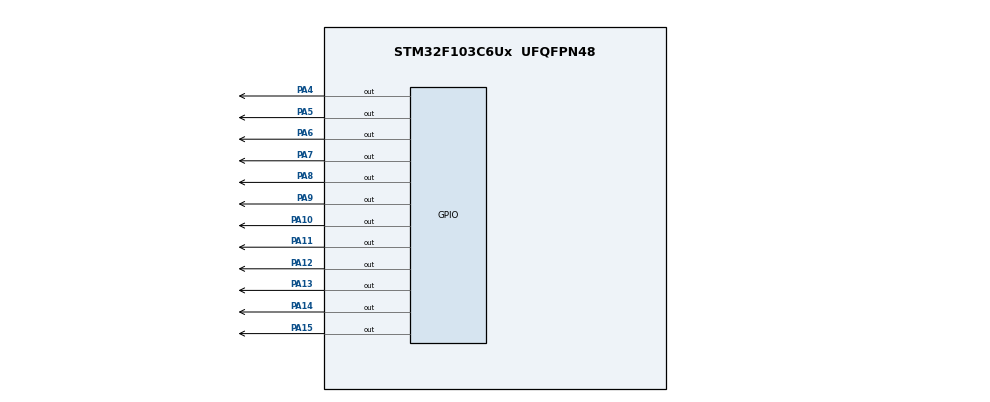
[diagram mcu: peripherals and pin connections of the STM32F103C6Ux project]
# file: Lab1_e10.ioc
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Mcu.Family=STM32F1
Mcu.Name=STM32F103C6Ux
Mcu.Package=UFQFPN48
NVIC.PriorityGroup=NVIC_PRIORITYGROUP_4
PA10.PinState=GPIO_PIN_SET
PA10.Signal=GPIO_Output
PA11.PinState=GPIO_PIN_SET
PA11.Signal=GPIO_Output
PA12.PinState=GPIO_PIN_SET
PA12.Signal=GPIO_Output
PA13.PinState=GPIO_PIN_SET
PA13.Signal=GPIO_Output
PA14.PinState=GPIO_PIN_SET
PA14.Signal=GPIO_Output
PA15.PinState=GPIO_PIN_SET
PA15.Signal=GPIO_Output
PA4.PinState=GPIO_PIN_SET
PA4.Signal=GPIO_Output
PA5.PinState=GPIO_PIN_SET
PA5.Signal=GPIO_Output
PA6.PinState=GPIO_PIN_SET
PA6.Signal=GPIO_Output
PA7.PinState=GPIO_PIN_SET
PA7.Signal=GPIO_Output
PA8.PinState=GPIO_PIN_SET
PA8.Signal=GPIO_Output
PA9.PinState=GPIO_PIN_SET
PA9.Signal=GPIO_Output
ProjectManager.HeapSize=0x200
ProjectManager.StackSize=0x400
ProjectManager.TargetToolchain=STM32CubeIDE
RCC.APB1Freq_Value=8000000
RCC.APB2Freq_Value=8000000
VP_SYS_VS_ND.Mode=No_Debug
board=custom

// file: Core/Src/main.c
/* USER CODE BEGIN Header */
/**
  ******************************************************************************
  * @file           : main.c
  * @brief          : Main program body
  ******************************************************************************
  * @attention
  *
  * <h2><center>&copy; Copyright (c) 2026 STMicroelectronics.
  * All rights reserved.</center></h2>
  *
  * This software component is licensed by ST under BSD 3-Clause license,
  * the "License"; You may not use this file except in compliance with the
  * License. You may obtain a copy of the License at:
  *                        opensource.org/licenses/BSD-3-Clause
  *
  ******************************************************************************
  */
/* USER CODE END Header */
#include "main.h"

/* USER CODE BEGIN PD */
#define CLOCK_LED_MASK ((uint16_t)0xFFF0U)
/* USER CODE END PD */

void SystemClock_Config(void);
static void MX_GPIO_Init(void);
/* USER CODE BEGIN PFP */
void clearAllClock(void);
void setNumberOnClock(int num);
void clearNumberOnClock(int num);
static void displayClock(uint8_t hour, uint8_t minute, uint8_t second);
/* USER CODE END PFP */

/* USER CODE BEGIN 0 */

/*
 * LED order follows the clock positions.
 *
 * Position 0  = 12 o'clock = D2 = PA5
 * Position 1  = 1 o'clock  = D3 = PA6
 * Position 2  = 2 o'clock  = D4 = PA7
 * Position 3  = 3 o'clock  = D5 = PA8
 * Position 4  = 4 o'clock  = D6 = PA9
 * Position 5  = 5 o'clock  = D7 = PA10
 * Position 6  = 6 o'clock  = D8 = PA11
 * Position 7  = 7 o'clock  = D9 = PA12
 * Position 8  = 8 o'clock  = D10 = PA13
 * Position 9  = 9 o'clock  = D11 = PA14
 * Position 10 = 10 o'clock = D12 = PA15
 * Position 11 = 11 o'clock = D1 = PA4
 */
static const uint16_t clock_pins[12] =
{
    GPIO_PIN_5,
    GPIO_PIN_6,
    GPIO_PIN_7,
    GPIO_PIN_8,
    GPIO_PIN_9,
    GPIO_PIN_10,
    GPIO_PIN_11,
    GPIO_PIN_12,
    GPIO_PIN_13,
    GPIO_PIN_14,
    GPIO_PIN_15,
    GPIO_PIN_4
};

/*
 * All LEDs are active-low:
 *
 * GPIO_PIN_RESET = LED ON
 * GPIO_PIN_SET   = LED OFF
 */
void clearAllClock(void)
{
    HAL_GPIO_WritePin(
        GPIOA,
        GPIO_PIN_4  |
        GPIO_PIN_5  |
        GPIO_PIN_6  |
        GPIO_PIN_7  |
        GPIO_PIN_8  |
        GPIO_PIN_9  |
        GPIO_PIN_10 |
        GPIO_PIN_11 |
        GPIO_PIN_12 |
        GPIO_PIN_13 |
        GPIO_PIN_14 |
        GPIO_PIN_15,
        GPIO_PIN_SET
    );
}

void setNumberOnClock(int position)
{
    if (position >= 0 && position < 12)
    {
        HAL_GPIO_WritePin(
            GPIOA,
            clock_pins[position],
            GPIO_PIN_RESET
        );
    }
}

void clearNumberOnClock(int position)
{
    if (position >= 0 && position < 12)
    {
        HAL_GPIO_WritePin(GPIOA, clock_pins[position], GPIO_PIN_SET);
    }
}

static void displayClock(uint8_t hour, uint8_t minute, uint8_t second)
{
    const uint16_t on_pins = clock_pins[hour % 12U]
                           | clock_pins[minute / 5U]
                           | clock_pins[second / 5U];
    const uint16_t off_pins = CLOCK_LED_MASK & (uint16_t)~on_pins;

    /* Update all hands together; leave PA0-PA3 unchanged.
     * Low half sets OFF pins high; high half resets ON pins low.
     * Overlapping hands naturally share the same LED.
     */
    GPIOA->BSRR = (uint32_t)off_pins | ((uint32_t)on_pins << 16U);
}
/* USER CODE END 0 */

int main(void)
{

  /* MCU Configuration--------------------------------------------------------*/

  /* Reset of all peripherals, Initializes the Flash interface and the Systick. */
  HAL_Init();

  /* Configure the system clock */
  SystemClock_Config();

  /* Initialize all configured peripherals */
  MX_GPIO_Init();
  /* USER CODE BEGIN 2 */

    /* Start with every LED turned off */
    clearAllClock();

    uint8_t hour = 5;
    uint8_t minute = 59;
    uint8_t second = 50;
    uint32_t previous_tick = HAL_GetTick();

    displayClock(hour, minute, second);
  /* USER CODE END 2 */

  /* Infinite loop */
  /* USER CODE BEGIN WHILE */
    while (1)
    {
        /* Unsigned subtraction also handles the HAL tick wrapping.
         * Fixed deadlines avoid adding loop execution time each second.
         */
        while ((uint32_t)(HAL_GetTick() - previous_tick) >= 1000U)
        {
            previous_tick += 1000U;
            if (++second >= 60U)
            {
                second = 0;
                if (++minute >= 60U)
                {
                    minute = 0;
                    if (++hour > 12U)
                    {
                        hour = 1;
                    }
                }
            }
            displayClock(hour, minute, second);
        }
        HAL_Delay(1);
    /* USER CODE END WHILE */

    }
}

void SystemClock_Config(void)
{
  RCC_OscInitTypeDef RCC_OscInitStruct = {0};
  RCC_ClkInitTypeDef RCC_ClkInitStruct = {0};

  /** Initializes the RCC Oscillators according to the specified parameters
  * in the RCC_OscInitTypeDef structure.
  */
  RCC_OscInitStruct.OscillatorType = RCC_OSCILLATORTYPE_HSI;
  RCC_OscInitStruct.HSIState = RCC_HSI_ON;
  RCC_OscInitStruct.HSICalibrationValue = RCC_HSICALIBRATION_DEFAULT;
  RCC_OscInitStruct.PLL.PLLState = RCC_PLL_NONE;
  if (HAL_RCC_OscConfig(&RCC_OscInitStruct) != HAL_OK)
  {
    Error_Handler();
  }
  /** Initializes the CPU, AHB and APB buses clocks
  */
  RCC_ClkInitStruct.ClockType = RCC_CLOCKTYPE_HCLK|RCC_CLOCKTYPE_SYSCLK
                              |RCC_CLOCKTYPE_PCLK1|RCC_CLOCKTYPE_PCLK2;
  RCC_ClkInitStruct.SYSCLKSource = RCC_SYSCLKSOURCE_HSI;
  RCC_ClkInitStruct.AHBCLKDivider = RCC_SYSCLK_DIV1;
  RCC_ClkInitStruct.APB1CLKDivider = RCC_HCLK_DIV1;
  RCC_ClkInitStruct.APB2CLKDivider = RCC_HCLK_DIV1;

  if (HAL_RCC_ClockConfig(&RCC_ClkInitStruct, FLASH_LATENCY_0) != HAL_OK)
  {
    Error_Handler();
  }
}

static void MX_GPIO_Init(void)
{
  GPIO_InitTypeDef GPIO_InitStruct = {0};

  /* GPIO Ports Clock Enable */
  __HAL_RCC_GPIOA_CLK_ENABLE();

  /*Configure GPIO pin Output Level */
  HAL_GPIO_WritePin(GPIOA, GPIO_PIN_4|GPIO_PIN_5|GPIO_PIN_6|GPIO_PIN_7
                          |GPIO_PIN_8|GPIO_PIN_9|GPIO_PIN_10|GPIO_PIN_11
                          |GPIO_PIN_12|GPIO_PIN_13|GPIO_PIN_14|GPIO_PIN_15, GPIO_PIN_SET);

  /*Configure GPIO pins : PA4 PA5 PA6 PA7
                           PA8 PA9 PA10 PA11
                           PA12 PA13 PA14 PA15 */
  GPIO_InitStruct.Pin = GPIO_PIN_4|GPIO_PIN_5|GPIO_PIN_6|GPIO_PIN_7
                          |GPIO_PIN_8|GPIO_PIN_9|GPIO_PIN_10|GPIO_PIN_11
                          |GPIO_PIN_12|GPIO_PIN_13|GPIO_PIN_14|GPIO_PIN_15;
  GPIO_InitStruct.Mode = GPIO_MODE_OUTPUT_PP;
  GPIO_InitStruct.Pull = GPIO_NOPULL;
  GPIO_InitStruct.Speed = GPIO_SPEED_FREQ_LOW;
  HAL_GPIO_Init(GPIOA, &GPIO_InitStruct);

}

void Error_Handler(void)
{
    __disable_irq();
    while (1)
    {
    }
}

/************************ (C) COPYRIGHT STMicroelectronics *****END OF FILE****/
